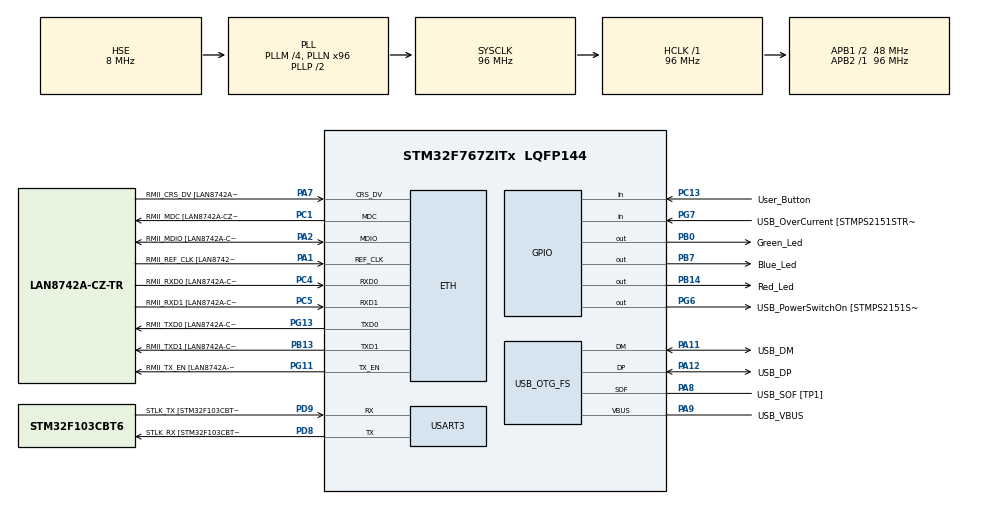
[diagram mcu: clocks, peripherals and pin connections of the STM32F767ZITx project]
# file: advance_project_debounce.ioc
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ETH.MediaInterface=HAL_ETH_RMII_MODE
ETH.PHY_Name=LAN8742A_PHY_ADDRESS
ETH.PHY_Value=0
ETH.PhyAddress=0
Mcu.Family=STM32F7
Mcu.Name=STM32F767ZITx
Mcu.Package=LQFP144
NVIC.PriorityGroup=NVIC_PRIORITYGROUP_4
PA1.GPIO_Label=RMII_REF_CLK [LAN8742A-CZ-TR_REFCLK0]
PA1.Mode=RMII
PA1.Signal=ETH_REF_CLK
PA10.GPIO_Label=USB_ID
PA10.Signal=USB_OTG_FS_ID
PA11.GPIO_Label=USB_DM
PA11.Mode=Device_Only
PA11.Signal=USB_OTG_FS_DM
PA12.GPIO_Label=USB_DP
PA12.Mode=Device_Only
PA12.Signal=USB_OTG_FS_DP
PA13.GPIO_Label=TMS
PA13.Mode=Serial_Wire
PA13.Signal=SYS_JTMS-SWDIO
PA14.GPIO_Label=TCK
PA14.Mode=Serial_Wire
PA14.Signal=SYS_JTCK-SWCLK
PA2.GPIO_Label=RMII_MDIO [LAN8742A-CZ-TR_MDIO]
PA2.Mode=RMII
PA2.Signal=ETH_MDIO
PA7.GPIO_Label=RMII_CRS_DV [LAN8742A-CZ-TR_CRS_DV]
PA7.Mode=RMII
PA7.Signal=ETH_CRS_DV
PA8.GPIO_Label=USB_SOF [TP1]
PA8.Mode=Activate_SOF_FS
PA8.Signal=USB_OTG_FS_SOF
PA9.GPIO_Label=USB_VBUS
PA9.Mode=Activate_VBUS
PA9.Signal=USB_OTG_FS_VBUS
PB0.GPIO_Label=Green_Led
PB0.Signal=GPIO_Output
PB13.GPIO_Label=RMII_TXD1 [LAN8742A-CZ-TR_TXD1]
PB13.Mode=RMII
PB13.Signal=ETH_TXD1
PB14.GPIO_Label=Red_Led
PB14.Signal=GPIO_Output
PB3.GPIO_Label=SWO
PB3.Signal=SYS_JTDO-SWO
PB7.GPIO_Label=Blue_Led
PB7.Signal=GPIO_Output
PC1.GPIO_Label=RMII_MDC [LAN8742A-CZ-TR_MDC]
PC1.Mode=RMII
PC1.Signal=ETH_MDC
PC13.GPIO_Label=User_Button
PC13.GPIO_PuPd=GPIO_PULLDOWN
PC13.Signal=GPIO_Input
PC14/OSC32_IN.Mode=LSE-External-Oscillator
PC14/OSC32_IN.Signal=RCC_OSC32_IN
PC15/OSC32_OUT.Mode=LSE-External-Oscillator
PC15/OSC32_OUT.Signal=RCC_OSC32_OUT
PC4.GPIO_Label=RMII_RXD0 [LAN8742A-CZ-TR_RXD0]
PC4.Mode=RMII
PC4.Signal=ETH_RXD0
PC5.GPIO_Label=RMII_RXD1 [LAN8742A-CZ-TR_RXD1]
PC5.Mode=RMII
PC5.Signal=ETH_RXD1
PD8.GPIO_Label=STLK_RX [STM32F103CBT6_PA3]
PD8.Mode=Asynchronous
PD8.Signal=USART3_TX
PD9.GPIO_Label=STLK_TX [STM32F103CBT6_PA2]
PD9.Mode=Asynchronous
PD9.Signal=USART3_RX
PG11.GPIO_Label=RMII_TX_EN [LAN8742A-CZ-TR_TXEN]
PG11.Mode=RMII
PG11.Signal=ETH_TX_EN
PG13.GPIO_Label=RMII_TXD0 [LAN8742A-CZ-TR_TXD0]
PG13.Mode=RMII
PG13.Signal=ETH_TXD0
PG6.GPIO_Label=USB_PowerSwitchOn [STMPS2151STR_EN]
PG6.Signal=GPIO_Output
PG7.GPIO_Label=USB_OverCurrent [STMPS2151STR_FAULT]
PG7.Signal=GPIO_Input
PH0/OSC_IN.GPIO_Label=MCO [STM32F103CBT6_PA8]
PH0/OSC_IN.Mode=HSE-External-Clock-Source
PH0/OSC_IN.Signal=RCC_OSC_IN
PH1/OSC_OUT.Mode=HSE-External-Clock-Source
PH1/OSC_OUT.Signal=RCC_OSC_OUT
ProjectManager.HeapSize=0x200
ProjectManager.StackSize=0x400
ProjectManager.TargetToolchain=STM32CubeIDE
RCC.48MHZClocksFreq_Value=24000000
RCC.AHBFreq_Value=96000000
RCC.APB1CLKDivider=RCC_HCLK_DIV2
RCC.APB1Freq_Value=48000000
RCC.APB1TimFreq_Value=96000000
RCC.APB2Freq_Value=96000000
RCC.APB2TimFreq_Value=96000000
RCC.CortexFreq_Value=96000000
RCC.HCLKFreq_Value=96000000
RCC.HSE_VALUE=8000000
RCC.HSI_VALUE=16000000
RCC.PLLM=4
RCC.PLLMUL=RCC_PLL_MUL9
RCC.PLLN=96
RCC.PLLQ=4
RCC.PRESCALERUSB=RCC_USBCLKSOURCE_PLL_DIV1_5
RCC.SYSCLKFreq_VALUE=96000000
RCC.SYSCLKSource=RCC_SYSCLKSOURCE_PLLCLK
RCC.SYSCLKSourceVirtual=RCC_SYSCLKSOURCE_PLLCLK
RCC.USBFreq_Value=48000000
RCC.VCOOutputFreq_Value=192000000
USART3.VirtualMode-Asynchronous=VM_ASYNC
USB_OTG_FS.VirtualMode=Device_Only
board=NUCLEO-F767ZI

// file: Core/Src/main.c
/* USER CODE BEGIN Header */
/**
  ******************************************************************************
  * @file           : main.c
  * @brief          : Main program body
  ******************************************************************************
  * @attention
  *
  * Copyright (c) 2026 STMicroelectronics.
  * All rights reserved.
  *
  * This software is licensed under terms that can be found in the LICENSE file
  * in the root directory of this software component.
  * If no LICENSE file comes with this software, it is provided AS-IS.
  *
  ******************************************************************************
  */
/* USER CODE END Header */
#include "main.h"
#include "string.h"

/* USER CODE BEGIN PD */

#define debounce_time 120

/* USER CODE END PD */

#if defined ( __ICCARM__ ) /*!< IAR Compiler */
#pragma location=0x2007c000
ETH_DMADescTypeDef  DMARxDscrTab[ETH_RX_DESC_CNT]; /* Ethernet Rx DMA Descriptors */
#pragma location=0x2007c0a0
ETH_DMADescTypeDef  DMATxDscrTab[ETH_TX_DESC_CNT]; /* Ethernet Tx DMA Descriptors */

#elif defined ( __CC_ARM )  /* MDK ARM Compiler */

__attribute__((at(0x2007c000))) ETH_DMADescTypeDef  DMARxDscrTab[ETH_RX_DESC_CNT]; /* Ethernet Rx DMA Descriptors */
__attribute__((at(0x2007c0a0))) ETH_DMADescTypeDef  DMATxDscrTab[ETH_TX_DESC_CNT]; /* Ethernet Tx DMA Descriptors */

#elif defined ( __GNUC__ ) /* GNU Compiler */

ETH_DMADescTypeDef DMARxDscrTab[ETH_RX_DESC_CNT] __attribute__((section(".RxDecripSection"))); /* Ethernet Rx DMA Descriptors */
ETH_DMADescTypeDef DMATxDscrTab[ETH_TX_DESC_CNT] __attribute__((section(".TxDecripSection")));   /* Ethernet Tx DMA Descriptors */
#endif

ETH_TxPacketConfig TxConfig;

ETH_HandleTypeDef heth;

UART_HandleTypeDef huart3;

PCD_HandleTypeDef hpcd_USB_OTG_FS;

/* USER CODE BEGIN PV */

GPIO_PinState usertbutton ;

int button_counter_debounce = 0;
int button_counter_notdebounce = 0;

/* USER CODE END PV */

void SystemClock_Config(void);
static void MX_GPIO_Init(void);
static void MX_ETH_Init(void);
static void MX_USART3_UART_Init(void);
static void MX_USB_OTG_FS_PCD_Init(void);
/* USER CODE BEGIN PFP */
GPIO_PinState GPIO_Read_Without_Debounce(GPIO_TypeDef* GPIOx , uint16_t GPIO_Pin);
GPIO_PinState GPIO_Read_With_Debounce(GPIO_TypeDef* GPIOx , uint16_t GPIO_Pin);

/* USER CODE END PFP */

/* USER CODE BEGIN 0 */

/*
GPIO_PinState GPIO_Read_Without_Debounce(GPIO_TypeDef* GPIOx , uint16_t GPIO_Pin)
{
static GPIO_PinState CurrrentState, LastState;
CurrrentState = HAL_GPIO_ReadPin(User_Button_GPIO_Port, User_Button_Pin);
if(CurrrentState == GPIO_PIN_SET)
{

	 if(CurrrentState != LastState)
	 {
		 LastState = CurrrentState;

	 }

}
return LastState;
}
*/

GPIO_PinState GPIO_Read_With_Debounce(GPIO_TypeDef* GPIOx , uint16_t GPIO_Pin)
{
	static GPIO_PinState LastState ;
	static GPIO_PinState StableState;
	static uint32_t CurrentTime = 0;

	GPIO_PinState  currentState = HAL_GPIO_ReadPin(GPIOx, GPIO_Pin);

	if(currentState == GPIO_PIN_SET)
	{
		if(currentState != LastState)
		{
			CurrentTime = HAL_GetTick();
			LastState = currentState;
		}
	}

	else
	{
		LastState = currentState;
		StableState = LastState;
	}

	if((HAL_GetTick() - CurrentTime) >= debounce_time)
	{
		if(LastState == currentState)
		{
			if(StableState!=LastState)
			{

				StableState = LastState;
			}
		}
	}

	return StableState;
}
/* USER CODE END 0 */

int main(void)
{

  /* MCU Configuration--------------------------------------------------------*/

  /* Reset of all peripherals, Initializes the Flash interface and the Systick. */
  HAL_Init();

  /* Configure the system clock */
  SystemClock_Config();

  /* Initialize all configured peripherals */
  MX_GPIO_Init();
  MX_ETH_Init();
  MX_USART3_UART_Init();
  MX_USB_OTG_FS_PCD_Init();
  /* USER CODE BEGIN 2 */

GPIO_PinState LastStatus ;

  /* USER CODE END 2 */

  /* Infinite loop */
  while (1)
  {

    /* USER CODE BEGIN 3 */

	  usertbutton =  GPIO_Read_With_Debounce(User_Button_GPIO_Port, User_Button_Pin);
	  if(usertbutton == GPIO_PIN_SET)
	  {

		  if(usertbutton != LastStatus)
		  {

			  LastStatus = usertbutton;

			  button_counter_debounce++;
		  }

	  }

	  else
	  {

		  LastStatus = usertbutton;

	  }
  }
  /* USER CODE END 3 */
}

void SystemClock_Config(void)
{
  RCC_OscInitTypeDef RCC_OscInitStruct = {0};
  RCC_ClkInitTypeDef RCC_ClkInitStruct = {0};

  /** Configure LSE Drive Capability
  */
  HAL_PWR_EnableBkUpAccess();

  /** Configure the main internal regulator output voltage
  */
  __HAL_RCC_PWR_CLK_ENABLE();
  __HAL_PWR_VOLTAGESCALING_CONFIG(PWR_REGULATOR_VOLTAGE_SCALE3);

  /** Initializes the RCC Oscillators according to the specified parameters
  * in the RCC_OscInitTypeDef structure.
  */
  RCC_OscInitStruct.OscillatorType = RCC_OSCILLATORTYPE_HSE;
  RCC_OscInitStruct.HSEState = RCC_HSE_BYPASS;
  RCC_OscInitStruct.PLL.PLLState = RCC_PLL_ON;
  RCC_OscInitStruct.PLL.PLLSource = RCC_PLLSOURCE_HSE;
  RCC_OscInitStruct.PLL.PLLM = 4;
  RCC_OscInitStruct.PLL.PLLN = 96;
  RCC_OscInitStruct.PLL.PLLP = RCC_PLLP_DIV2;
  RCC_OscInitStruct.PLL.PLLQ = 4;
  RCC_OscInitStruct.PLL.PLLR = 2;
  if (HAL_RCC_OscConfig(&RCC_OscInitStruct) != HAL_OK)
  {
    Error_Handler();
  }

  /** Activate the Over-Drive mode
  */
  if (HAL_PWREx_EnableOverDrive() != HAL_OK)
  {
    Error_Handler();
  }

  /** Initializes the CPU, AHB and APB buses clocks
  */
  RCC_ClkInitStruct.ClockType = RCC_CLOCKTYPE_HCLK|RCC_CLOCKTYPE_SYSCLK
                              |RCC_CLOCKTYPE_PCLK1|RCC_CLOCKTYPE_PCLK2;
  RCC_ClkInitStruct.SYSCLKSource = RCC_SYSCLKSOURCE_PLLCLK;
  RCC_ClkInitStruct.AHBCLKDivider = RCC_SYSCLK_DIV1;
  RCC_ClkInitStruct.APB1CLKDivider = RCC_HCLK_DIV2;
  RCC_ClkInitStruct.APB2CLKDivider = RCC_HCLK_DIV1;

  if (HAL_RCC_ClockConfig(&RCC_ClkInitStruct, FLASH_LATENCY_3) != HAL_OK)
  {
    Error_Handler();
  }
}

static void MX_ETH_Init(void)
{

   static uint8_t MACAddr[6];

  heth.Instance = ETH;
  MACAddr[0] = 0x00;
  MACAddr[1] = 0x80;
  MACAddr[2] = 0xE1;
  MACAddr[3] = 0x00;
  MACAddr[4] = 0x00;
  MACAddr[5] = 0x00;
  heth.Init.MACAddr = &MACAddr[0];
  heth.Init.MediaInterface = HAL_ETH_RMII_MODE;
  heth.Init.TxDesc = DMATxDscrTab;
  heth.Init.RxDesc = DMARxDscrTab;
  heth.Init.RxBuffLen = 1524;

  if (HAL_ETH_Init(&heth) != HAL_OK)
  {
    Error_Handler();
  }

  memset(&TxConfig, 0 , sizeof(ETH_TxPacketConfig));
  TxConfig.Attributes = ETH_TX_PACKETS_FEATURES_CSUM | ETH_TX_PACKETS_FEATURES_CRCPAD;
  TxConfig.ChecksumCtrl = ETH_CHECKSUM_IPHDR_PAYLOAD_INSERT_PHDR_CALC;
  TxConfig.CRCPadCtrl = ETH_CRC_PAD_INSERT;

}

static void MX_USART3_UART_Init(void)
{

  huart3.Instance = USART3;
  huart3.Init.BaudRate = 115200;
  huart3.Init.WordLength = UART_WORDLENGTH_8B;
  huart3.Init.StopBits = UART_STOPBITS_1;
  huart3.Init.Parity = UART_PARITY_NONE;
  huart3.Init.Mode = UART_MODE_TX_RX;
  huart3.Init.HwFlowCtl = UART_HWCONTROL_NONE;
  huart3.Init.OverSampling = UART_OVERSAMPLING_16;
  huart3.Init.OneBitSampling = UART_ONE_BIT_SAMPLE_DISABLE;
  huart3.AdvancedInit.AdvFeatureInit = UART_ADVFEATURE_NO_INIT;
  if (HAL_UART_Init(&huart3) != HAL_OK)
  {
    Error_Handler();
  }

}

static void MX_USB_OTG_FS_PCD_Init(void)
{

  hpcd_USB_OTG_FS.Instance = USB_OTG_FS;
  hpcd_USB_OTG_FS.Init.dev_endpoints = 6;
  hpcd_USB_OTG_FS.Init.speed = PCD_SPEED_FULL;
  hpcd_USB_OTG_FS.Init.dma_enable = DISABLE;
  hpcd_USB_OTG_FS.Init.phy_itface = PCD_PHY_EMBEDDED;
  hpcd_USB_OTG_FS.Init.Sof_enable = ENABLE;
  hpcd_USB_OTG_FS.Init.low_power_enable = DISABLE;
  hpcd_USB_OTG_FS.Init.lpm_enable = DISABLE;
  hpcd_USB_OTG_FS.Init.vbus_sensing_enable = ENABLE;
  hpcd_USB_OTG_FS.Init.use_dedicated_ep1 = DISABLE;
  if (HAL_PCD_Init(&hpcd_USB_OTG_FS) != HAL_OK)
  {
    Error_Handler();
  }

}

static void MX_GPIO_Init(void)
{
  GPIO_InitTypeDef GPIO_InitStruct = {0};

  /* GPIO Ports Clock Enable */
  __HAL_RCC_GPIOC_CLK_ENABLE();
  __HAL_RCC_GPIOH_CLK_ENABLE();
  __HAL_RCC_GPIOA_CLK_ENABLE();
  __HAL_RCC_GPIOB_CLK_ENABLE();
  __HAL_RCC_GPIOD_CLK_ENABLE();
  __HAL_RCC_GPIOG_CLK_ENABLE();

  /*Configure GPIO pin Output Level */
  HAL_GPIO_WritePin(GPIOB, Green_Led_Pin|Red_Led_Pin|Blue_Led_Pin, GPIO_PIN_RESET);

  /*Configure GPIO pin Output Level */
  HAL_GPIO_WritePin(USB_PowerSwitchOn_GPIO_Port, USB_PowerSwitchOn_Pin, GPIO_PIN_RESET);

  /*Configure GPIO pin : User_Button_Pin */
  GPIO_InitStruct.Pin = User_Button_Pin;
  GPIO_InitStruct.Mode = GPIO_MODE_INPUT;
  GPIO_InitStruct.Pull = GPIO_PULLDOWN;
  HAL_GPIO_Init(User_Button_GPIO_Port, &GPIO_InitStruct);

  /*Configure GPIO pins : Green_Led_Pin Red_Led_Pin Blue_Led_Pin */
  GPIO_InitStruct.Pin = Green_Led_Pin|Red_Led_Pin|Blue_Led_Pin;
  GPIO_InitStruct.Mode = GPIO_MODE_OUTPUT_PP;
  GPIO_InitStruct.Pull = GPIO_NOPULL;
  GPIO_InitStruct.Speed = GPIO_SPEED_FREQ_LOW;
  HAL_GPIO_Init(GPIOB, &GPIO_InitStruct);

  /*Configure GPIO pin : USB_PowerSwitchOn_Pin */
  GPIO_InitStruct.Pin = USB_PowerSwitchOn_Pin;
  GPIO_InitStruct.Mode = GPIO_MODE_OUTPUT_PP;
  GPIO_InitStruct.Pull = GPIO_NOPULL;
  GPIO_InitStruct.Speed = GPIO_SPEED_FREQ_LOW;
  HAL_GPIO_Init(USB_PowerSwitchOn_GPIO_Port, &GPIO_InitStruct);

  /*Configure GPIO pin : USB_OverCurrent_Pin */
  GPIO_InitStruct.Pin = USB_OverCurrent_Pin;
  GPIO_InitStruct.Mode = GPIO_MODE_INPUT;
  GPIO_InitStruct.Pull = GPIO_NOPULL;
  HAL_GPIO_Init(USB_OverCurrent_GPIO_Port, &GPIO_InitStruct);

}

void Error_Handler(void)
{
  __disable_irq();
  while (1)
  {
  }
}
